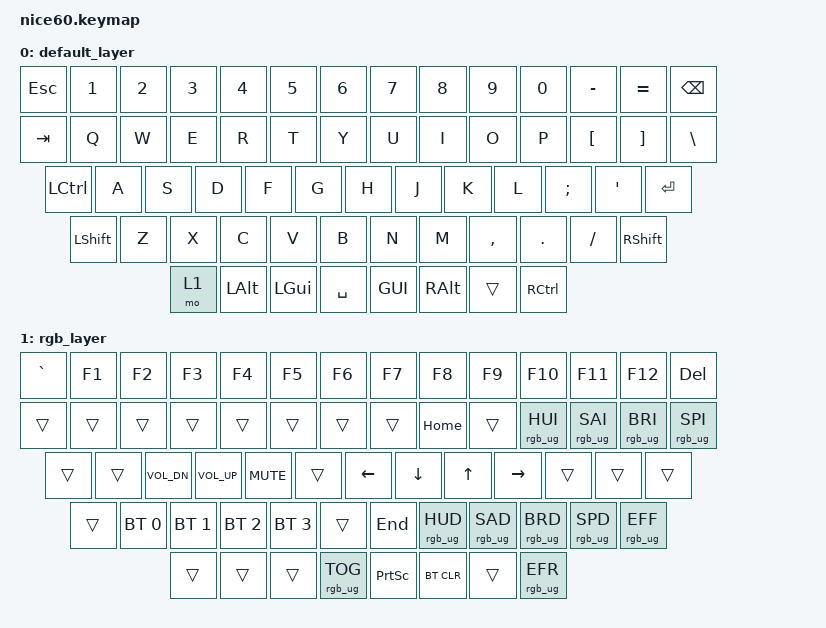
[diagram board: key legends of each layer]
/*
 * Copyright (c) 2021 Nick Winans
 *
 * SPDX-License-Identifier: MIT
 */

#include <behaviors.dtsi>
#include <dt-bindings/zmk/keys.h>
#include <dt-bindings/zmk/rgb.h>
#include <dt-bindings/zmk/bt.h>
#include <dt-bindings/zmk/outputs.h>
#include <dt-bindings/zmk/reset.h>
#include <dt-bindings/zmk/ext_power.h>

/ {
	keymap {
		compatible = "zmk,keymap";
		
		default_layer {
// ------------------------------------------------------------------------------------------
// | ESC |  1  |  2  |  3  |  4  |  5  |  6  |  7  |  8  |  9  |  0  |  -  |  =  |   BKSP   |
// | TAB  |  Q  |  W  |  E  |  R  |  T  |  Y  |  U  |  I  |  O  |  P  |  [  |  ]  |   "|"   |
// | CTL   |  A  |  S  |  D  |  F  |  G  |  H  |  J  |  K  |  L  |  ;  |  '  |     ENTER    |
// |  SHIFT  |  Z  |  X  |  C  |  V  |  B  |  N  |  M  |  ,  |  .  |  /  |      SHIFT       |
// | MO(1) |  ALT  |  WIN  |            SPACE              |  WIN  |  ALT  |        |  CTL  |
// ------------------------------------------------------------------------------------------
			bindings = <
	&kp ESC  &kp N1 &kp N2 &kp N3 &kp N4 &kp N5 &kp N6 &kp N7 &kp N8 &kp N9 &kp N0 &kp MINUS &kp EQUAL  &kp BSPC
	&kp TAB  &kp Q  &kp W  &kp E  &kp R  &kp T  &kp Y  &kp U  &kp I  &kp O  &kp P  &kp LBKT  &kp RBKT  &kp BSLH
	&kp LCTRL  &kp A  &kp S  &kp D  &kp F  &kp G  &kp H  &kp J  &kp K  &kp L  &kp SEMI &kp SQT           &kp RET
	&kp LSHFT   &kp Z  &kp X  &kp C  &kp V  &kp B  &kp N  &kp M  &kp COMMA &kp DOT &kp FSLH           &kp RSHFT
	&mo 1 &kp LALT &kp LGUI             &kp SPACE                     &kp GUI  &kp RALT  &trans   &kp RCTRL
			>;
		};

		rgb_layer {
// ------------------------------------------------------------------------------------------------
// | GRAVE  | F1  | F2  | F3  | F4  | F5  | F6  | F7  | F8  | F9  | F10  | F11 | F12 |    DEL     |
// |         |   |     |   |       |       |       |       |   |    |HUEUP|SATUP|BRIUP|   SPDUP   |
// |          |    | VOLU |VOLD| MUTE |      |  LT  | DN  | UP | RT  |     |      |               |
// |             |BT 1|BT 2|BT 3|BT 4|    |    | HUEDN | SATDN | BRIDN | SPDDN |     EFFECT FORW  |
// |         |      |      |             TOG RGB                | PRT SCR | BT CLR|       | EFF R |
// ------------------------------------------------------------------------------------------------
			bindings = <
	&kp GRAVE   &kp F1    &kp F2    &kp F3  &kp F4           &kp F5          &kp F6          &kp F7          &kp F8   &kp F9   &kp F10  &kp F11 &kp F12  &kp DEL
	&trans  &trans    &trans    &trans    &trans   &trans   &trans   &trans  &kp HOME  &trans &rgb_ug RGB_HUI  &rgb_ug RGB_SAI &rgb_ug RGB_BRI &rgb_ug RGB_SPI 
	&trans   &trans  &kp C_VOL_DN    &kp C_VOL_UP   &kp C_MUTE   &trans     &kp LEFT  &kp DOWN &kp UP &kp RIGHT &trans   &trans        &trans
	&trans    &bt BT_SEL 0 &bt BT_SEL 1 &bt BT_SEL 2 &bt BT_SEL 3      &trans          &kp END   &rgb_ug RGB_HUD &rgb_ug RGB_SAD &rgb_ug RGB_BRD &rgb_ug RGB_SPD                                 &rgb_ug RGB_EFF
	&trans  &trans   &trans                            &rgb_ug RGB_TOG                                      &kp PSCRN      &bt BT_CLR      &trans               &rgb_ug RGB_EFR
			>;
		};
	};
};
